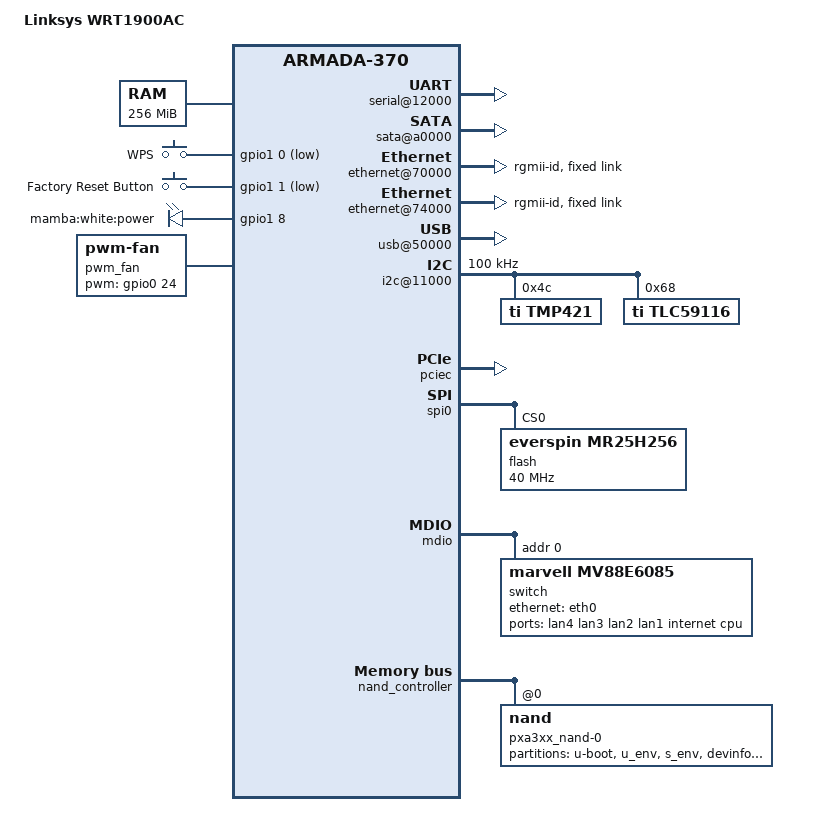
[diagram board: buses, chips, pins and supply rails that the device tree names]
// SPDX-License-Identifier: (GPL-2.0 OR MIT)
/*
 * Device Tree file for the Linksys WRT1900AC (Mamba).
 *
 * Note: this board is shipped with a new generation boot loader that
 * remaps internal registers at 0xf1000000. Therefore, if earlyprintk
 * is used, the CONFIG_DEBUG_MVEBU_UART0_ALTERNATE option should be
 * used.
 *
 * Copyright (C) 2014 Imre Kaloz <kaloz@openwrt.org>
 *
 * Based on armada-xp-axpwifiap.dts:
 *
 *     Copyright (C) 2013 Marvell
 *
 *     Thomas Petazzoni <thomas.petazzoni@free-electrons.com>
 */

/dts-v1/;
#include <dt-bindings/gpio/gpio.h>
#include <dt-bindings/input/input.h>
#include "armada-xp-mv78230.dtsi"

/ {
	model = "Linksys WRT1900AC";
	compatible = "linksys,mamba", "marvell,armadaxp-mv78230",
		     "marvell,armadaxp", "marvell,armada-370-xp";

	chosen {
		bootargs = "console=ttyS0,115200";
		stdout-path = &uart0;
	};

	memory@0 {
		device_type = "memory";
		reg = <0x00000000 0x00000000 0x00000000 0x10000000>; /* 256MB */
	};

	soc {
		ranges = <MBUS_ID(0xf0, 0x01) 0 0 0xf1000000 0x100000
			  MBUS_ID(0x01, 0x1d) 0 0 0xfff00000 0x100000
			  MBUS_ID(0x09, 0x09) 0 0 0xf1100000 0x10000
			  MBUS_ID(0x09, 0x05) 0 0 0xf1110000 0x10000
			  MBUS_ID(0x0c, 0x04) 0 0 0xf1200000 0x100000>;

		internal-regs {

			rtc@10300 {
				/* No crystal connected to the internal RTC */
				status = "disabled";
			};

			/* J10: VCC, NC, RX, NC, TX, GND  */
			serial@12000 {
				status = "okay";
			};

			sata@a0000 {
				nr-ports = <1>;
				status = "okay";
			};

			ethernet@70000 {
				pinctrl-0 = <&ge0_rgmii_pins>;
				pinctrl-names = "default";
				status = "okay";
				phy-mode = "rgmii-id";
				buffer-manager = <&bm>;
				bm,pool-long = <0>;
				bm,pool-short = <1>;
				fixed-link {
					speed = <1000>;
					full-duplex;
				};
			};

			ethernet@74000 {
				pinctrl-0 = <&ge1_rgmii_pins>;
				pinctrl-names = "default";
				status = "okay";
				phy-mode = "rgmii-id";
				buffer-manager = <&bm>;
				bm,pool-long = <2>;
				bm,pool-short = <3>;
				fixed-link {
					speed = <1000>;
					full-duplex;
				};
			};

			/* USB part of the eSATA/USB 2.0 port */
			usb@50000 {
				status = "okay";
			};

			i2c@11000 {
				status = "okay";
				clock-frequency = <100000>;

				tmp421@4c {
					compatible = "ti,tmp421";
					reg = <0x4c>;
				};

				tlc59116@68 {
					#address-cells = <1>;
					#size-cells = <0>;
					#gpio-cells = <2>;
					compatible = "ti,tlc59116";
					reg = <0x68>;

					wan_amber@0 {
						label = "mamba:amber:wan";
						reg = <0x0>;
					};

					wan_white@1 {
						label = "mamba:white:wan";
						reg = <0x1>;
					};

					wlan_2g@2 {
						label = "mamba:white:wlan_2g";
						reg = <0x2>;
					};

					wlan_5g@3 {
						label = "mamba:white:wlan_5g";
						reg = <0x3>;
					};

					esata@4 {
						label = "mamba:white:esata";
						reg = <0x4>;
						linux,default-trigger = "disk-activity";
					};

					usb2@5 {
						label = "mamba:white:usb2";
						reg = <0x5>;
					};

					usb3_1@6 {
						label = "mamba:white:usb3_1";
						reg = <0x6>;
					};

					usb3_2@7 {
						label = "mamba:white:usb3_2";
						reg = <0x7>;
					};

					wps_white@8 {
						label = "mamba:white:wps";
						reg = <0x8>;
					};

					wps_amber@9 {
						label = "mamba:amber:wps";
						reg = <0x9>;
					};
				};
			};

			bm@c8000 {
				status = "okay";
			};
		};

		bm-bppi {
			status = "okay";
		};
	};

	gpio-keys {
		compatible = "gpio-keys";
		pinctrl-0 = <&keys_pin>;
		pinctrl-names = "default";

		button-wps {
			label = "WPS";
			linux,code = <KEY_WPS_BUTTON>;
			gpios = <&gpio1 0 GPIO_ACTIVE_LOW>;
		};

		button-reset {
			label = "Factory Reset Button";
			linux,code = <KEY_RESTART>;
			gpios = <&gpio1 1 GPIO_ACTIVE_LOW>;
		};
	};

	gpio-leds {
		compatible = "gpio-leds";
		pinctrl-0 = <&power_led_pin>;
		pinctrl-names = "default";

		power {
			label = "mamba:white:power";
			gpios = <&gpio1 8 GPIO_ACTIVE_HIGH>;
			default-state = "on";
		};
	};

	pwm_fan {
		/* SUNON HA4010V4-0000-C99 */

		compatible = "pwm-fan";
		pwms = <&gpio0 24 4000>;
	};
};

&pciec {
	status = "okay";

	/* Etron EJ168 USB 3.0 controller */
	pcie@1,0 {
		/* Port 0, Lane 0 */
		status = "okay";
	};

	/* First mini-PCIe port */
	pcie@2,0 {
		/* Port 0, Lane 1 */
		status = "okay";
	};

	/* Second mini-PCIe port */
	pcie@3,0 {
		/* Port 0, Lane 3 */
		status = "okay";
	};
};

&pinctrl {

	keys_pin: keys-pin {
		marvell,pins = "mpp32", "mpp33";
		marvell,function = "gpio";
	};

	power_led_pin: power-led-pin {
		marvell,pins = "mpp40";
		marvell,function = "gpio";
	};

	gpio_fan_pin: gpio-fan-pin {
		marvell,pins = "mpp24";
		marvell,function = "gpio";
	};
};

&spi0 {
	status = "okay";

	flash@0 {
		#address-cells = <1>;
		#size-cells = <1>;
		compatible = "everspin,mr25h256";
		reg = <0>; /* Chip select 0 */
		spi-max-frequency = <40000000>;
	};
};

&mdio {
	status = "okay";

	switch@0 {
		compatible = "marvell,mv88e6085";
		#address-cells = <1>;
		#size-cells = <0>;
		reg = <0>;

		ports {
			#address-cells = <1>;
			#size-cells = <0>;

			port@0 {
				reg = <0>;
				label = "lan4";
			};

			port@1 {
				reg = <1>;
				label = "lan3";
			};

			port@2 {
				reg = <2>;
				label = "lan2";
			};

			port@3 {
				reg = <3>;
				label = "lan1";
			};

			port@4 {
				reg = <4>;
				label = "internet";
			};

			port@5 {
				reg = <5>;
				label = "cpu";
				ethernet = <&eth0>;
				fixed-link {
					speed = <1000>;
					full-duplex;
				};
			};
		};
	};
};

&nand_controller {
	status = "okay";

	nand@0 {
		reg = <0>;
		label = "pxa3xx_nand-0";
		nand-rb = <0>;
		marvell,nand-keep-config;
		nand-on-flash-bbt;
		nand-ecc-strength = <4>;
		nand-ecc-step-size = <512>;

		partitions {
			compatible = "fixed-partitions";
			#address-cells = <1>;
			#size-cells = <1>;

			partition@0 {
				label = "u-boot";
				reg = <0x0000000 0x100000>;  /* 1MB */
				read-only;
			};

			partition@100000 {
				label = "u_env";
				reg = <0x100000 0x40000>;    /* 256KB */
			};

			partition@140000 {
				label = "s_env";
				reg = <0x140000 0x40000>;    /* 256KB */
			};

			partition@900000 {
				label = "devinfo";
				reg = <0x900000 0x100000>;   /* 1MB */
				read-only;
			};

			/* kernel1 overlaps with rootfs1 by design */
			partition@a00000 {
				label = "kernel1";
				reg = <0xa00000 0x2800000>;  /* 40MB */
			};

			partition@d00000 {
				label = "rootfs1";
				reg = <0xd00000 0x2500000>;  /* 37MB */
			};

			/* kernel2 overlaps with rootfs2 by design */
			partition@3200000 {
				label = "kernel2";
				reg = <0x3200000 0x2800000>; /* 40MB */
			};

			partition@3500000 {
				label = "rootfs2";
				reg = <0x3500000 0x2500000>; /* 37MB */
			};

			/*
			 * 38MB, last MB is for the BBT, not writable
			 */
			partition@5a00000 {
				label = "syscfg";
				reg = <0x5a00000 0x2600000>;
			};

			/*
			 * Unused area between "s_env" and "devinfo".
			 * Moved here because otherwise the renumbered
			 * partitions would break the bootloader
			 * supplied bootargs
			 */
			partition@180000 {
				label = "unused_area";
				reg = <0x180000 0x780000>;   /* 7.5MB */
			};
		};
	};
};
